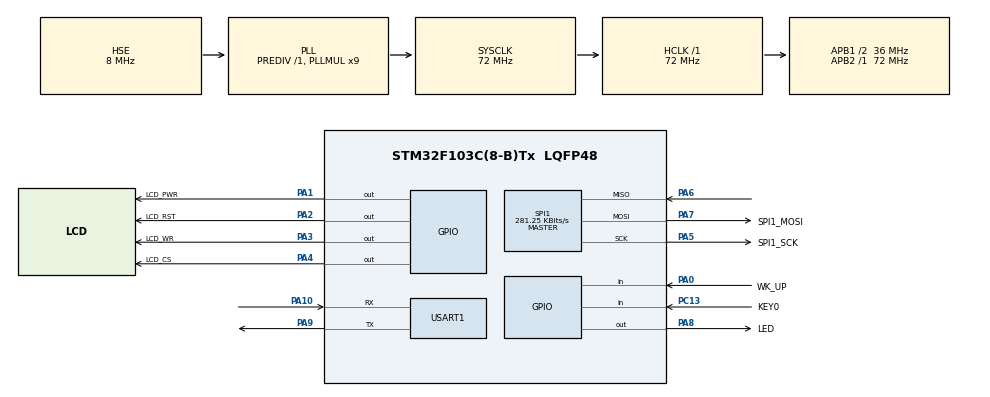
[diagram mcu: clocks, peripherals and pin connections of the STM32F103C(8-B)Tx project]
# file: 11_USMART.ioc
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Mcu.Family=STM32F1
Mcu.Name=STM32F103C(8-B)Tx
Mcu.Package=LQFP48
NVIC.PriorityGroup=NVIC_PRIORITYGROUP_2
NVIC.TIM2_IRQn=true\:2\:1\:true\:false\:true\:true\:true\:true
NVIC.USART1_IRQn=true\:2\:0\:true\:false\:true\:true\:true\:true
PA0-WKUP.GPIO_Label=WK_UP
PA0-WKUP.GPIO_PuPd=GPIO_PULLDOWN
PA0-WKUP.Signal=GPIO_Input
PA1.GPIO_Label=LCD_PWR
PA1.GPIO_PuPd=GPIO_PULLUP
PA1.GPIO_Speed=GPIO_SPEED_FREQ_HIGH
PA1.PinState=GPIO_PIN_SET
PA1.Signal=GPIO_Output
PA10.Mode=Asynchronous
PA10.Signal=USART1_RX
PA13.Mode=Serial_Wire
PA13.Signal=SYS_JTMS-SWDIO
PA14.Mode=Serial_Wire
PA14.Signal=SYS_JTCK-SWCLK
PA2.GPIO_Label=LCD_RST
PA2.GPIO_PuPd=GPIO_PULLUP
PA2.GPIO_Speed=GPIO_SPEED_FREQ_HIGH
PA2.PinState=GPIO_PIN_SET
PA2.Signal=GPIO_Output
PA3.GPIO_Label=LCD_WR
PA3.GPIO_PuPd=GPIO_PULLUP
PA3.GPIO_Speed=GPIO_SPEED_FREQ_HIGH
PA3.PinState=GPIO_PIN_SET
PA3.Signal=GPIO_Output
PA4.GPIO_Label=LCD_CS
PA4.GPIO_PuPd=GPIO_PULLUP
PA4.GPIO_Speed=GPIO_SPEED_FREQ_HIGH
PA4.PinState=GPIO_PIN_SET
PA4.Signal=GPIO_Output
PA5.GPIO_Label=SPI1_SCK
PA5.Mode=Full_Duplex_Master
PA5.Signal=SPI1_SCK
PA6.Mode=Full_Duplex_Master
PA6.Signal=SPI1_MISO
PA7.GPIO_Label=SPI1_MOSI
PA7.Mode=Full_Duplex_Master
PA7.Signal=SPI1_MOSI
PA8.GPIO_Label=LED
PA8.GPIO_PuPd=GPIO_PULLUP
PA8.GPIO_Speed=GPIO_SPEED_FREQ_HIGH
PA8.PinState=GPIO_PIN_SET
PA8.Signal=GPIO_Output
PA9.Mode=Asynchronous
PA9.Signal=USART1_TX
PC13-TAMPER-RTC.GPIO_Label=KEY0
PC13-TAMPER-RTC.GPIO_PuPd=GPIO_PULLUP
PC13-TAMPER-RTC.Signal=GPIO_Input
PC14-OSC32_IN.Mode=LSE-External-Oscillator
PC14-OSC32_IN.Signal=RCC_OSC32_IN
PC15-OSC32_OUT.Mode=LSE-External-Oscillator
PC15-OSC32_OUT.Signal=RCC_OSC32_OUT
PD0-OSC_IN.Mode=HSE-External-Oscillator
PD0-OSC_IN.Signal=RCC_OSC_IN
PD1-OSC_OUT.Mode=HSE-External-Oscillator
PD1-OSC_OUT.Signal=RCC_OSC_OUT
ProjectManager.HeapSize=0x200
ProjectManager.StackSize=0x400
ProjectManager.TargetToolchain=STM32CubeIDE
RCC.AHBFreq_Value=72000000
RCC.APB1CLKDivider=RCC_HCLK_DIV2
RCC.APB1Freq_Value=36000000
RCC.APB1TimFreq_Value=72000000
RCC.APB2Freq_Value=72000000
RCC.APB2TimFreq_Value=72000000
RCC.HCLKFreq_Value=72000000
RCC.PLLMUL=RCC_PLL_MUL9
RCC.PLLSourceVirtual=RCC_PLLSOURCE_HSE
RCC.SYSCLKFreq_VALUE=72000000
RCC.SYSCLKSource=RCC_SYSCLKSOURCE_PLLCLK
RCC.USBFreq_Value=72000000
SPI1.BaudRatePrescaler=SPI_BAUDRATEPRESCALER_256
SPI1.CLKPhase=SPI_PHASE_2EDGE
SPI1.CLKPolarity=SPI_POLARITY_HIGH
SPI1.CalculateBaudRate=281.25 KBits/s
SPI1.Direction=SPI_DIRECTION_2LINES
SPI1.Mode=SPI_MODE_MASTER
SPI1.VirtualType=VM_MASTER
TIM2.AutoReloadPreload=TIM_AUTORELOAD_PRELOAD_ENABLE
TIM2.Period=1000 - 1
TIM2.Prescaler=72 - 1
USART1.VirtualMode=VM_ASYNC
VP_TIM2_VS_ClockSourceINT.Mode=Internal
board=custom

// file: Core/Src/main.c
/**
 ****************************************************************************************************
 * @file        main.c
 * @author      ALIENTEK
 * @brief       USMART code
 * @license     Copyright (C) 2020-2032, ALIENTEK
 ****************************************************************************************************
 * @attention
 *
 * platform  	: ALIENTEK STM32F103 development board
 * website		: https://www.alientek.com
 * forum		: http://www.openedv.com/forum.php
 *
 * change logs	:
 * version		data		notes
 * V1.0			20240222	the first version
 *
 ****************************************************************************************************
 */

/* USER CODE BEGIN Header */

/* USER CODE END Header */
#include "main.h"
#include "spi.h"
#include "tim.h"
#include "usart.h"
#include "gpio.h"

/* USER CODE BEGIN Includes */
#include "../../BSP/LED/led.h"
#include "../../BSP/KEY/key.h"
#include "../../ATK_Middlewares/USMART/usmart.h"
/* USER CODE END Includes */

/* USER CODE BEGIN PTD */

void stm32f103c8t6_show_mesg(void)
{
	/* The serial port outputs the experimental information */
	printf("\n");
	printf("********************************\r\n");
	printf("STM32F103\r\n");
	printf("USMART Test\r\n");
	printf("ATOM@ALIENTEK\r\n");
	printf("********************************\r\n");
	printf("\r\n");
}

/* LED status settings */
void led_set(uint8_t sta)
{
    LED(sta);
}

/* Test function parameter calls */
void test_fun(void(*ledset)(uint8_t), uint8_t sta)
{
    ledset(sta);
}

/* USER CODE END PTD */

void SystemClock_Config(void);

int main(void)
{

  /* MCU Configuration--------------------------------------------------------*/

  /* Reset of all peripherals, Initializes the Flash interface and the Systick. */
  HAL_Init();

  /* Configure the system clock */
  SystemClock_Config();

  /* Initialize all configured peripherals */
  MX_GPIO_Init();
  MX_USART1_UART_Init();
  MX_SPI1_Init();
  MX_TIM2_Init();
  /* USER CODE BEGIN 2 */

  stm32f103c8t6_show_mesg();

  /* USER CODE END 2 */

  /* Infinite loop */
  /* USER CODE BEGIN WHILE */
  while (1)
  {
	  HAL_Delay(500);
    /* USER CODE END WHILE */

  }
}

void SystemClock_Config(void)
{
  RCC_OscInitTypeDef RCC_OscInitStruct = {0};
  RCC_ClkInitTypeDef RCC_ClkInitStruct = {0};

  /** Initializes the RCC Oscillators according to the specified parameters
  * in the RCC_OscInitTypeDef structure.
  */
  RCC_OscInitStruct.OscillatorType = RCC_OSCILLATORTYPE_HSE;
  RCC_OscInitStruct.HSEState = RCC_HSE_ON;
  RCC_OscInitStruct.HSEPredivValue = RCC_HSE_PREDIV_DIV1;
  RCC_OscInitStruct.HSIState = RCC_HSI_ON;
  RCC_OscInitStruct.PLL.PLLState = RCC_PLL_ON;
  RCC_OscInitStruct.PLL.PLLSource = RCC_PLLSOURCE_HSE;
  RCC_OscInitStruct.PLL.PLLMUL = RCC_PLL_MUL9;
  if (HAL_RCC_OscConfig(&RCC_OscInitStruct) != HAL_OK)
  {
    Error_Handler();
  }

  /** Initializes the CPU, AHB and APB buses clocks
  */
  RCC_ClkInitStruct.ClockType = RCC_CLOCKTYPE_HCLK|RCC_CLOCKTYPE_SYSCLK
                              |RCC_CLOCKTYPE_PCLK1|RCC_CLOCKTYPE_PCLK2;
  RCC_ClkInitStruct.SYSCLKSource = RCC_SYSCLKSOURCE_PLLCLK;
  RCC_ClkInitStruct.AHBCLKDivider = RCC_SYSCLK_DIV1;
  RCC_ClkInitStruct.APB1CLKDivider = RCC_HCLK_DIV2;
  RCC_ClkInitStruct.APB2CLKDivider = RCC_HCLK_DIV1;

  if (HAL_RCC_ClockConfig(&RCC_ClkInitStruct, FLASH_LATENCY_2) != HAL_OK)
  {
    Error_Handler();
  }
}

void Error_Handler(void)
{
  __disable_irq();
  while (1)
  {
  }
}
